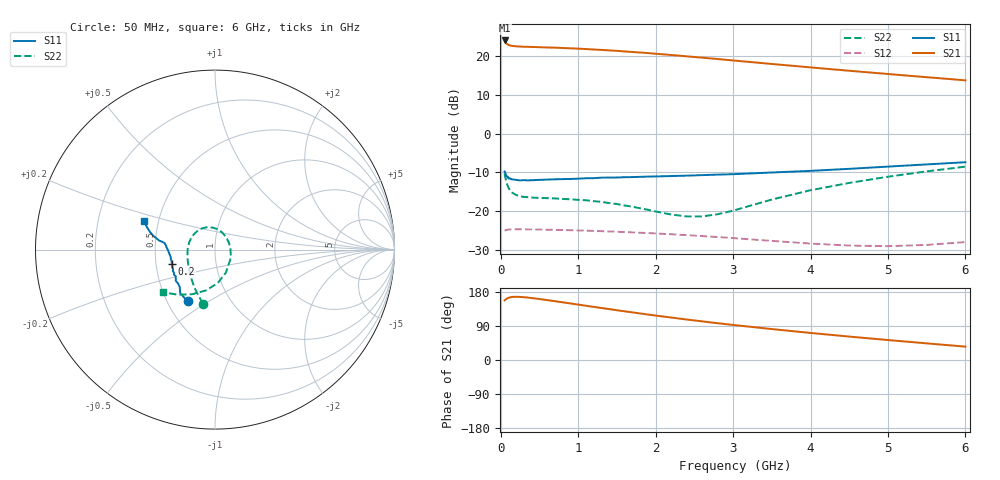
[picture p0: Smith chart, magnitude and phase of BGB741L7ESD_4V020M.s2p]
!  Infineon Technologies AG
!  BGB741L7ESD
!  Vce = 4.0V, Ic = 20.0mA
!  DATUM: 30.06.2009 10:10:18
# GHz  S  MA  R  50
!f  S11  S21  S12  S22
!GHz  Mag  Ang  Mag  Ang  Mag  Ang  Mag  Ang
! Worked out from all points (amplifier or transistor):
!   44 points, 50 MHz to 6 GHz, reference 50 ohm
!   highest |S21| = 23.9 dB at 50 MHz (marker M1)
!   |S21| within 3 dB of that: start of sweep to 1.729 GHz
!   unconditionally stable (mu >= 1): 190.1 MHz to end of sweep
!   at 120 MHz: K = 0.97, MSG = 23.7 dB, |S12| = -24.7 dB
!   at 1 GHz: K = 1.04, MAG = 22.2 dB, |S12| = -24.9 dB
!   at 6 GHz: K = 1.80, MAG = 15.6 dB, |S12| = -27.9 dB
!   S11 on the Smith chart (normalised r, x): 50 MHz: 0.63, -0.41; 200 MHz: 0.61, -0.10; 6 GHz: 0.41, +0.16
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0.05  0.3264 -118.0  15.74 157.4  0.05619 16.8  0.3086 -102.5
0.06  0.3104 -128.7  14.98 159.0  0.057 14.2  0.2716 -109.9
0.07  0.287 -133.2  14.5 160.9  0.05763 12.1  0.2465 -116.6
0.08  0.2794 -137.2  14.19 162.2  0.05798 10.6  0.2272 -122.2
0.1  0.2646 -146.0  13.78 164.0  0.05838 8.2  0.2019 -131.9
0.14  0.2578 -155.1  13.43 166.2  0.05864 5.5  0.1766 -146.3
0.2  0.2535 -161.4  13.23 166.8  0.05876 3.4  0.1622 -160.3
0.35  0.2502 -170.1  13.03 164.7  0.05862 0.7  0.152 178.3
0.7  0.2582 -176.8  12.71 155.1  0.05781 -2.1  0.1467 148.7
1.1  0.2663 179.1  12.21 143.2  0.05645 -4.0  0.1388 122.2
1.4  0.2718 176.7  11.74 134.3  0.05512 -5.1  0.1278 104.0
1.6  0.2748 175.1  11.37 128.5  0.05415 -5.6  0.1189 91.1
1.9  0.2795 173.5  10.83 120.0  0.05255 -6.3  0.1049 69.6
2.2  0.2843 172.6  10.24 112.1  0.05077 -6.7  0.09105 44.3
2.8  0.2965 171.5  9.088 97.1  0.04675 -6.5  0.0917 -16.6
3  0.3004 171.5  8.711 92.5  0.04529 -5.9  0.102 -33.5
3.5  0.3157 170.7  7.847 81.6  0.0417 -3.4  0.1418 -64.7
4  0.3315 169.2  7.091 71.4  0.03854 0.9  0.1868 -85.2
4.5  0.3522 167.5  6.419 61.8  0.03631 7.5  0.232 -102.1
5  0.376 164.7  5.832 52.7  0.03567 15.7  0.2786 -116.9
5.5  0.4012 161.5  5.305 43.9  0.037 24.3  0.3264 -129.6
6  0.428 158.1  4.834 35.3  0.04027 31.5  0.3756 -141.0
